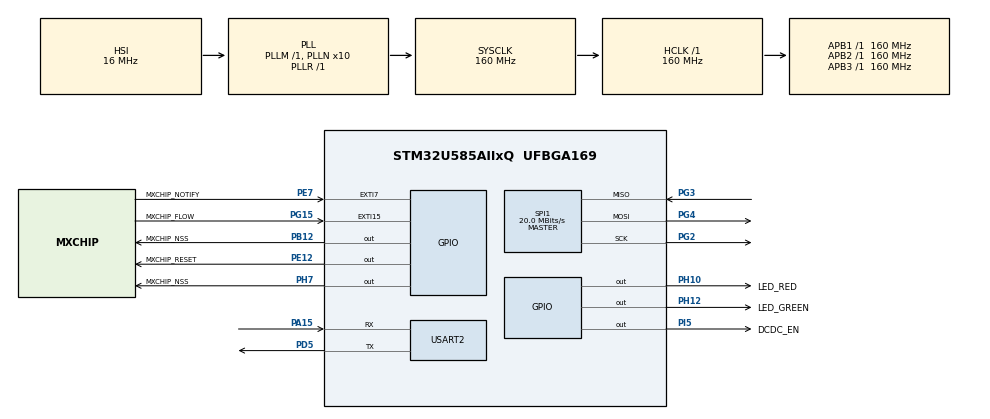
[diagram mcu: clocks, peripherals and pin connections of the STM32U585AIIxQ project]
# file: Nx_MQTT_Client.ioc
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CORTEX_M33_NS.userName=CORTEX_M33
Mcu.Family=STM32U5
Mcu.Name=STM32U585AIIxQ
Mcu.Package=UFBGA169
NETXDUO.NXD_MQTT_REQUIRE_TLS=true
NETXDUO.NX_APP_MEM_POOL_SIZE=100 * 1024
NETXDUO.NX_DRIVER_DEFERRED_PROCESSING=true
NETXDUO.NX_PHYSICAL_HEADER=44
NETXDUO.NX_SECURE_ENABLE=true
NETXDUO.NX_SECURE_ENABLE_ECC_CIPHERSUITE=true
NETXDUO.NX_SNTP_CLIENT_MAX_ROOT_DISPERSION=500000
NETXDUO.NX_SNTP_CLIENT_MIN_SERVER_STRATUM=5
NVIC.EXTI15_IRQn=true\:5\:0\:true\:false\:true\:false\:false\:true\:true
NVIC.EXTI7_IRQn=true\:5\:0\:true\:false\:true\:false\:true\:true\:true
NVIC.PriorityGroup=NVIC_PRIORITYGROUP_4
NVIC.TIM6_IRQn=true\:15\:0\:false\:false\:true\:false\:false\:true\:true
NVIC.TimeBase=TIM6_IRQn
NVIC.TimeBaseIP=TIM6
NVIC.USART2_IRQn=true\:5\:0\:true\:false\:true\:false\:true\:true\:true
PA15\ (JTDI).Mode=Asynchronous
PA15\ (JTDI).Signal=USART2_RX
PB12.GPIO_Label=MXCHIP_NSS
PB12.GPIO_Speed=GPIO_SPEED_FREQ_HIGH
PB12.PinState=GPIO_PIN_SET
PB12.Signal=GPIO_Output
PD5.Mode=Asynchronous
PD5.Signal=USART2_TX
PE12.GPIO_Label=MXCHIP_RESET
PE12.GPIO_Speed=GPIO_SPEED_FREQ_HIGH
PE12.Signal=GPIO_Output
PE7.GPIO_Label=MXCHIP_NOTIFY
PE7.Signal=GPXTI7
PG15.GPIO_Label=MXCHIP_FLOW
PG15.Signal=GPXTI15
PG2.Mode=Full_Duplex_Master
PG2.Signal=SPI1_SCK
PG3.Mode=Full_Duplex_Master
PG3.Signal=SPI1_MISO
PG4.Mode=Full_Duplex_Master
PG4.Signal=SPI1_MOSI
PH10.GPIO_Label=LED_RED
PH10.Signal=GPIO_Output
PH12.GPIO_Label=LED_GREEN
PH12.Signal=GPIO_Output
PH7.GPIO_Label=MXCHIP_NSS
PH7.GPIO_Speed=GPIO_SPEED_FREQ_HIGH
PH7.PinState=GPIO_PIN_SET
PH7.Signal=GPIO_Output
PI5.GPIO_Label=DCDC_EN
PI5.PinState=GPIO_PIN_SET
PI5.Signal=GPIO_Output
PWR.PowerMode=PWR_SMPS_SUPPLY
ProjectManager.HeapSize=0x200
ProjectManager.StackSize=0x400
ProjectManager.TargetToolchain=EWARM V8.50
RCC.ADCFreq_Value=16000000
RCC.AHBFreq_Value=160000000
RCC.APB1Freq_Value=160000000
RCC.APB1TimFreq_Value=160000000
RCC.APB2Freq_Value=160000000
RCC.APB2TimFreq_Value=160000000
RCC.APB3Freq_Value=160000000
RCC.CortexFreq_Value=160000000
RCC.DACCLockSelectionVirtual=RCC_DAC1CLKSOURCE_LSI
RCC.EPOD_VALUE=16000000
RCC.HCLKFreq_Value=160000000
RCC.HSE_VALUE=16000000
RCC.HSI48_VALUE=48000000
RCC.HSI_VALUE=16000000
RCC.LSE_VALUE=32768
RCC.LSIDIV_VALUE=32000
RCC.MSIClockRange=RCC_MSIRANGE_0
RCC.MSI_VALUE=48000000
RCC.PLL1R=1
RCC.PLLN=10
RCC.PLLSourceVirtual=RCC_PLLSOURCE_HSI
RCC.SPI2CLockSelection=RCC_SPI2CLKSOURCE_PCLK1
RCC.SYSCLKFreq_VALUE=160000000
RCC.SYSCLKSource=RCC_SYSCLKSOURCE_PLLCLK
RCC.USBFreq_Value=48000000
RCC.VCOOutputFreq_Value=160000000
SPI1.BaudRatePrescaler=SPI_BAUDRATEPRESCALER_8
SPI1.CalculateBaudRate=20.0 MBits/s
SPI1.DataSize=SPI_DATASIZE_8BIT
SPI1.Direction=SPI_DIRECTION_2LINES
SPI1.Mode=SPI_MODE_MASTER
SPI1.VirtualType=VM_MASTER
THREADX.AZRTOS_APP_MEM_ALLOCATION_METHOD=1
THREADX.TX_APP_MEM_POOL_SIZE=1024
USART2.VirtualMode-Asynchronous=VM_ASYNC
VP_ICACHE_VS_ICACHE.Mode=DirectMappedCache
VP_LPBAMQUEUE_VS_QUEUE.Mode=QUEUEMODE
VP_LPBAM_VS_SIG1.Mode=SmartRun
VP_LPBAM_VS_SIG4.Mode=LPDMA1
VP_NETXDUO_VS_AddonsOoDHCP.Mode=Addons_DHCP_Client
VP_NETXDUO_VS_AddonsOoDNS.Mode=Addons_DNS
VP_NETXDUO_VS_AddonsOoMQTT.Mode=Addons_MQTT
VP_NETXDUO_VS_AddonsOoSNTP.Mode=Addons_SNTP
VP_NETXDUO_VS_Crypto.Mode=Crypto
VP_NETXDUO_VS_NXOoCore.Mode=NX_Core
VP_NETXDUO_VS_TLS.Mode=TLS
VP_PWR_VS_DBSignals.Mode=DisableDeadBatterySignals
VP_PWR_VS_LPOM.Mode=PowerOptimisation
VP_PWR_VS_SECSignals.Mode=Security/Privilege
VP_RNG_VS_RNG.Mode=RNG_Activate
VP_SYS_VS_tim6.Mode=TIM6
VP_THREADX_VS_RTOSJjThreadXJjCoreJjDefault.Mode=Core_Default
board=custom

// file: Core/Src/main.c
/* USER CODE BEGIN Header */
/**
  ******************************************************************************
  * @file           : main.c
  * @brief          : Main program body
  ******************************************************************************
  * @attention
  *
  * Copyright (c) 2021 STMicroelectronics.
  * All rights reserved.
  *
  * This software is licensed under terms that can be found in the LICENSE file
  * in the root directory of this software component.
  * If no LICENSE file comes with this software, it is provided AS-IS.
  *
  ******************************************************************************
  */
/* USER CODE END Header */
#include "app_threadx.h"
#include "main.h"

/* USER CODE BEGIN PTD */
#if defined ( __GNUC__) && !defined(__clang__)
/* With GCC, small printf (option LD Linker->Libraries->Small printf
   set to 'Yes') calls __io_putchar() */
#define PUTCHAR_PROTOTYPE int __io_putchar(int ch)
#else
#define PUTCHAR_PROTOTYPE int fputc(int ch, FILE *f)
#endif /* __GNUC__ */
/* USER CODE END PTD */

RNG_HandleTypeDef hrng;

SPI_HandleTypeDef hspi1;

UART_HandleTypeDef huart2;

void SystemClock_Config(void);
static void SystemPower_Config(void);
static void MX_GPIO_Init(void);
static void MX_ICACHE_Init(void);
static void MX_RNG_Init(void);
static void MX_SPI1_Init(void);
static void MX_USART2_UART_Init(void);

/* USER CODE BEGIN 0 */
void HAL_GPIO_EXTI_Rising_Callback(uint16_t GPIO_Pin)
{
  switch (GPIO_Pin)
  {
    case (GPIO_PIN_1):

      break;
#if MX_WIFI_USE_SPI == 1
    case (MXCHIP_FLOW_Pin):
      mxchip_WIFI_ISR(MXCHIP_FLOW_Pin);
      nx_driver_emw3080_interrupt();
      break;

    case (MXCHIP_NOTIFY_Pin):
      mxchip_WIFI_ISR(MXCHIP_NOTIFY_Pin);
      nx_driver_emw3080_interrupt();
      break;
#endif /* MX_WIFI_USE_SPI */

    default:
      break;
  }
}

void Success_Handler(void)
{
   HAL_GPIO_WritePin(LED_RED_GPIO_Port, LED_RED_Pin, GPIO_PIN_SET);
   while(1)
   {
     HAL_GPIO_TogglePin(LED_GREEN_GPIO_Port, LED_GREEN_Pin);
     tx_thread_sleep(50);
   }
}
/* USER CODE END 0 */

int main(void)
{

  /* MCU Configuration--------------------------------------------------------*/

  /* Reset of all peripherals, Initializes the Flash interface and the Systick. */
  HAL_Init();

  /* Configure the system clock */
  SystemClock_Config();

  /* Configure the System Power */
  SystemPower_Config();

  /* Initialize all configured peripherals */
  MX_GPIO_Init();
  MX_ICACHE_Init();
  MX_RNG_Init();
  MX_SPI1_Init();
  MX_USART2_UART_Init();

  MX_ThreadX_Init();

  /* We should never get here as control is now taken by the scheduler */
  /* Infinite loop */
  while (1)
  {

  }
}

void SystemClock_Config(void)
{
  RCC_OscInitTypeDef RCC_OscInitStruct = {0};
  RCC_ClkInitTypeDef RCC_ClkInitStruct = {0};

  /** Configure the main internal regulator output voltage
  */
  if (HAL_PWREx_ControlVoltageScaling(PWR_REGULATOR_VOLTAGE_SCALE1) != HAL_OK)
  {
    Error_Handler();
  }

  /** Initializes the CPU, AHB and APB buses clocks
  */
  RCC_OscInitStruct.OscillatorType = RCC_OSCILLATORTYPE_HSI48|RCC_OSCILLATORTYPE_HSI;
  RCC_OscInitStruct.HSIState = RCC_HSI_ON;
  RCC_OscInitStruct.HSI48State = RCC_HSI48_ON;
  RCC_OscInitStruct.HSICalibrationValue = RCC_HSICALIBRATION_DEFAULT;
  RCC_OscInitStruct.PLL.PLLState = RCC_PLL_ON;
  RCC_OscInitStruct.PLL.PLLSource = RCC_PLLSOURCE_HSI;
  RCC_OscInitStruct.PLL.PLLMBOOST = RCC_PLLMBOOST_DIV1;
  RCC_OscInitStruct.PLL.PLLM = 1;
  RCC_OscInitStruct.PLL.PLLN = 10;
  RCC_OscInitStruct.PLL.PLLP = 2;
  RCC_OscInitStruct.PLL.PLLQ = 2;
  RCC_OscInitStruct.PLL.PLLR = 1;
  RCC_OscInitStruct.PLL.PLLRGE = RCC_PLLVCIRANGE_1;
  RCC_OscInitStruct.PLL.PLLFRACN = 0;
  if (HAL_RCC_OscConfig(&RCC_OscInitStruct) != HAL_OK)
  {
    Error_Handler();
  }

  /** Initializes the CPU, AHB and APB buses clocks
  */
  RCC_ClkInitStruct.ClockType = RCC_CLOCKTYPE_HCLK|RCC_CLOCKTYPE_SYSCLK
                              |RCC_CLOCKTYPE_PCLK1|RCC_CLOCKTYPE_PCLK2
                              |RCC_CLOCKTYPE_PCLK3;
  RCC_ClkInitStruct.SYSCLKSource = RCC_SYSCLKSOURCE_PLLCLK;
  RCC_ClkInitStruct.AHBCLKDivider = RCC_SYSCLK_DIV1;
  RCC_ClkInitStruct.APB1CLKDivider = RCC_HCLK_DIV1;
  RCC_ClkInitStruct.APB2CLKDivider = RCC_HCLK_DIV1;
  RCC_ClkInitStruct.APB3CLKDivider = RCC_HCLK_DIV1;

  if (HAL_RCC_ClockConfig(&RCC_ClkInitStruct, FLASH_LATENCY_4) != HAL_OK)
  {
    Error_Handler();
  }
}

/**
  * @brief Power Configuration
  * @retval None
  */
static void SystemPower_Config(void)
{
  HAL_PWREx_EnableVddIO2();

  /*
   * Disable the internal Pull-Up in Dead Battery pins of UCPD peripheral
   */
  HAL_PWREx_DisableUCPDDeadBattery();

  /*
   * Switch to SMPS regulator instead of LDO
   */
  if (HAL_PWREx_ConfigSupply(PWR_SMPS_SUPPLY) != HAL_OK)
  {
    Error_Handler();
  }
}

static void MX_ICACHE_Init(void)
{

  /** Enable instruction cache in 1-way (direct mapped cache)
  */
  if (HAL_ICACHE_ConfigAssociativityMode(ICACHE_1WAY) != HAL_OK)
  {
    Error_Handler();
  }
  if (HAL_ICACHE_Enable() != HAL_OK)
  {
    Error_Handler();
  }

}

static void MX_RNG_Init(void)
{

  hrng.Instance = RNG;
  hrng.Init.ClockErrorDetection = RNG_CED_ENABLE;
  if (HAL_RNG_Init(&hrng) != HAL_OK)
  {
    Error_Handler();
  }

}

static void MX_SPI1_Init(void)
{

  SPI_AutonomousModeConfTypeDef HAL_SPI_AutonomousMode_Cfg_Struct = {0};

  /* SPI1 parameter configuration*/
  hspi1.Instance = SPI1;
  hspi1.Init.Mode = SPI_MODE_MASTER;
  hspi1.Init.Direction = SPI_DIRECTION_2LINES;
  hspi1.Init.DataSize = SPI_DATASIZE_8BIT;
  hspi1.Init.CLKPolarity = SPI_POLARITY_LOW;
  hspi1.Init.CLKPhase = SPI_PHASE_1EDGE;
  hspi1.Init.NSS = SPI_NSS_SOFT;
  hspi1.Init.BaudRatePrescaler = SPI_BAUDRATEPRESCALER_8;
  hspi1.Init.FirstBit = SPI_FIRSTBIT_MSB;
  hspi1.Init.TIMode = SPI_TIMODE_DISABLE;
  hspi1.Init.CRCCalculation = SPI_CRCCALCULATION_DISABLE;
  hspi1.Init.CRCPolynomial = 0x7;
  hspi1.Init.NSSPMode = SPI_NSS_PULSE_ENABLE;
  hspi1.Init.NSSPolarity = SPI_NSS_POLARITY_LOW;
  hspi1.Init.FifoThreshold = SPI_FIFO_THRESHOLD_01DATA;
  hspi1.Init.MasterSSIdleness = SPI_MASTER_SS_IDLENESS_00CYCLE;
  hspi1.Init.MasterInterDataIdleness = SPI_MASTER_INTERDATA_IDLENESS_00CYCLE;
  hspi1.Init.MasterReceiverAutoSusp = SPI_MASTER_RX_AUTOSUSP_DISABLE;
  hspi1.Init.MasterKeepIOState = SPI_MASTER_KEEP_IO_STATE_DISABLE;
  hspi1.Init.IOSwap = SPI_IO_SWAP_DISABLE;
  hspi1.Init.ReadyMasterManagement = SPI_RDY_MASTER_MANAGEMENT_INTERNALLY;
  hspi1.Init.ReadyPolarity = SPI_RDY_POLARITY_HIGH;
  if (HAL_SPI_Init(&hspi1) != HAL_OK)
  {
    Error_Handler();
  }
  HAL_SPI_AutonomousMode_Cfg_Struct.TriggerState = SPI_AUTO_MODE_DISABLE;
  HAL_SPI_AutonomousMode_Cfg_Struct.TriggerSelection = SPI_GRP1_GPDMA_CH0_TCF_TRG;
  HAL_SPI_AutonomousMode_Cfg_Struct.TriggerPolarity = SPI_TRIG_POLARITY_RISING;
  if (HAL_SPIEx_SetConfigAutonomousMode(&hspi1, &HAL_SPI_AutonomousMode_Cfg_Struct) != HAL_OK)
  {
    Error_Handler();
  }

}

static void MX_USART2_UART_Init(void)
{

  huart2.Instance = USART2;
  huart2.Init.BaudRate = 115200;
  huart2.Init.WordLength = UART_WORDLENGTH_8B;
  huart2.Init.StopBits = UART_STOPBITS_1;
  huart2.Init.Parity = UART_PARITY_NONE;
  huart2.Init.Mode = UART_MODE_TX_RX;
  huart2.Init.HwFlowCtl = UART_HWCONTROL_NONE;
  huart2.Init.OverSampling = UART_OVERSAMPLING_16;
  huart2.Init.OneBitSampling = UART_ONE_BIT_SAMPLE_DISABLE;
  huart2.Init.ClockPrescaler = UART_PRESCALER_DIV1;
  huart2.AdvancedInit.AdvFeatureInit = UART_ADVFEATURE_NO_INIT;
  if (HAL_UART_Init(&huart2) != HAL_OK)
  {
    Error_Handler();
  }
  if (HAL_UARTEx_SetTxFifoThreshold(&huart2, UART_TXFIFO_THRESHOLD_1_8) != HAL_OK)
  {
    Error_Handler();
  }
  if (HAL_UARTEx_SetRxFifoThreshold(&huart2, UART_RXFIFO_THRESHOLD_1_8) != HAL_OK)
  {
    Error_Handler();
  }
  if (HAL_UARTEx_DisableFifoMode(&huart2) != HAL_OK)
  {
    Error_Handler();
  }

}

static void MX_GPIO_Init(void)
{
  GPIO_InitTypeDef GPIO_InitStruct = {0};

  /* GPIO Ports Clock Enable */
  __HAL_RCC_GPIOG_CLK_ENABLE();
  __HAL_RCC_GPIOA_CLK_ENABLE();
  __HAL_RCC_GPIOI_CLK_ENABLE();
  __HAL_RCC_GPIOH_CLK_ENABLE();
  __HAL_RCC_GPIOD_CLK_ENABLE();
  __HAL_RCC_GPIOE_CLK_ENABLE();
  __HAL_RCC_GPIOB_CLK_ENABLE();

  /*Configure GPIO pin Output Level */
  HAL_GPIO_WritePin(DCDC_EN_GPIO_Port, DCDC_EN_Pin, GPIO_PIN_SET);

  /*Configure GPIO pin Output Level */
  HAL_GPIO_WritePin(GPIOH, LED_GREEN_Pin|LED_RED_Pin, GPIO_PIN_RESET);

  /*Configure GPIO pin Output Level */
  HAL_GPIO_WritePin(MXCHIP_NSS_GPIO_Port, MXCHIP_NSS_Pin, GPIO_PIN_SET);

  /*Configure GPIO pin Output Level */
  HAL_GPIO_WritePin(MXCHIP_NSSB12_GPIO_Port, MXCHIP_NSSB12_Pin, GPIO_PIN_SET);

  /*Configure GPIO pin Output Level */
  HAL_GPIO_WritePin(MXCHIP_RESET_GPIO_Port, MXCHIP_RESET_Pin, GPIO_PIN_RESET);

  /*Configure GPIO pin : MXCHIP_FLOW_Pin */
  GPIO_InitStruct.Pin = MXCHIP_FLOW_Pin;
  GPIO_InitStruct.Mode = GPIO_MODE_IT_RISING;
  GPIO_InitStruct.Pull = GPIO_NOPULL;
  HAL_GPIO_Init(MXCHIP_FLOW_GPIO_Port, &GPIO_InitStruct);

  /*Configure GPIO pin : DCDC_EN_Pin */
  GPIO_InitStruct.Pin = DCDC_EN_Pin;
  GPIO_InitStruct.Mode = GPIO_MODE_OUTPUT_PP;
  GPIO_InitStruct.Pull = GPIO_NOPULL;
  GPIO_InitStruct.Speed = GPIO_SPEED_FREQ_LOW;
  HAL_GPIO_Init(DCDC_EN_GPIO_Port, &GPIO_InitStruct);

  /*Configure GPIO pins : LED_GREEN_Pin LED_RED_Pin */
  GPIO_InitStruct.Pin = LED_GREEN_Pin|LED_RED_Pin;
  GPIO_InitStruct.Mode = GPIO_MODE_OUTPUT_PP;
  GPIO_InitStruct.Pull = GPIO_NOPULL;
  GPIO_InitStruct.Speed = GPIO_SPEED_FREQ_LOW;
  HAL_GPIO_Init(GPIOH, &GPIO_InitStruct);

  /*Configure GPIO pin : MXCHIP_NSS_Pin */
  GPIO_InitStruct.Pin = MXCHIP_NSS_Pin;
  GPIO_InitStruct.Mode = GPIO_MODE_OUTPUT_PP;
  GPIO_InitStruct.Pull = GPIO_NOPULL;
  GPIO_InitStruct.Speed = GPIO_SPEED_FREQ_HIGH;
  HAL_GPIO_Init(MXCHIP_NSS_GPIO_Port, &GPIO_InitStruct);

  /*Configure GPIO pin : MXCHIP_NOTIFY_Pin */
  GPIO_InitStruct.Pin = MXCHIP_NOTIFY_Pin;
  GPIO_InitStruct.Mode = GPIO_MODE_IT_RISING;
  GPIO_InitStruct.Pull = GPIO_NOPULL;
  HAL_GPIO_Init(MXCHIP_NOTIFY_GPIO_Port, &GPIO_InitStruct);

  /*Configure GPIO pin : MXCHIP_NSSB12_Pin */
  GPIO_InitStruct.Pin = MXCHIP_NSSB12_Pin;
  GPIO_InitStruct.Mode = GPIO_MODE_OUTPUT_PP;
  GPIO_InitStruct.Pull = GPIO_NOPULL;
  GPIO_InitStruct.Speed = GPIO_SPEED_FREQ_HIGH;
  HAL_GPIO_Init(MXCHIP_NSSB12_GPIO_Port, &GPIO_InitStruct);

  /*Configure GPIO pin : MXCHIP_RESET_Pin */
  GPIO_InitStruct.Pin = MXCHIP_RESET_Pin;
  GPIO_InitStruct.Mode = GPIO_MODE_OUTPUT_PP;
  GPIO_InitStruct.Pull = GPIO_NOPULL;
  GPIO_InitStruct.Speed = GPIO_SPEED_FREQ_HIGH;
  HAL_GPIO_Init(MXCHIP_RESET_GPIO_Port, &GPIO_InitStruct);

  /* EXTI interrupt init*/
  HAL_NVIC_SetPriority(EXTI7_IRQn, 5, 0);
  HAL_NVIC_EnableIRQ(EXTI7_IRQn);

  HAL_NVIC_SetPriority(EXTI15_IRQn, 5, 0);
  HAL_NVIC_EnableIRQ(EXTI15_IRQn);

}

/* USER CODE BEGIN 4 */
  /**
  * @brief  Retargets the C library printf function to the USART.
  * @param  None
  * @retval None
  */

PUTCHAR_PROTOTYPE
{
  /* Place your implementation of fputc here */
  /* e.g. write a character to the USART1 and Loop until the end of transmission */
  HAL_UART_Transmit(&huart2, (uint8_t *)&ch, 1, 0xFFFF);
  return ch;
}
/* USER CODE END 4 */

#if defined (__IAR_SYSTEMS_ICC__)
extern UART_HandleTypeDef hcom_uart[];
size_t __write(int handle, const unsigned char * buffer, size_t size)
{
  (void)HAL_UART_Transmit(&huart2, (uint8_t *)buffer, 1, 0xFFFF);
  return size;
}
#endif

void HAL_TIM_PeriodElapsedCallback(TIM_HandleTypeDef *htim)
{
  if (htim->Instance == TIM6) {
    HAL_IncTick();
  }
}

void Error_Handler(void)
{
  /* USER CODE BEGIN Error_Handler_Debug */
  /* User can add his own implementation to report the HAL error return state */
   HAL_GPIO_WritePin(LED_GREEN_GPIO_Port, LED_GREEN_Pin, GPIO_PIN_SET);
   while(1)
   {
     HAL_GPIO_TogglePin(LED_RED_GPIO_Port, LED_RED_Pin);
     tx_thread_sleep(20);
   }
  /* USER CODE END Error_Handler_Debug */
}
